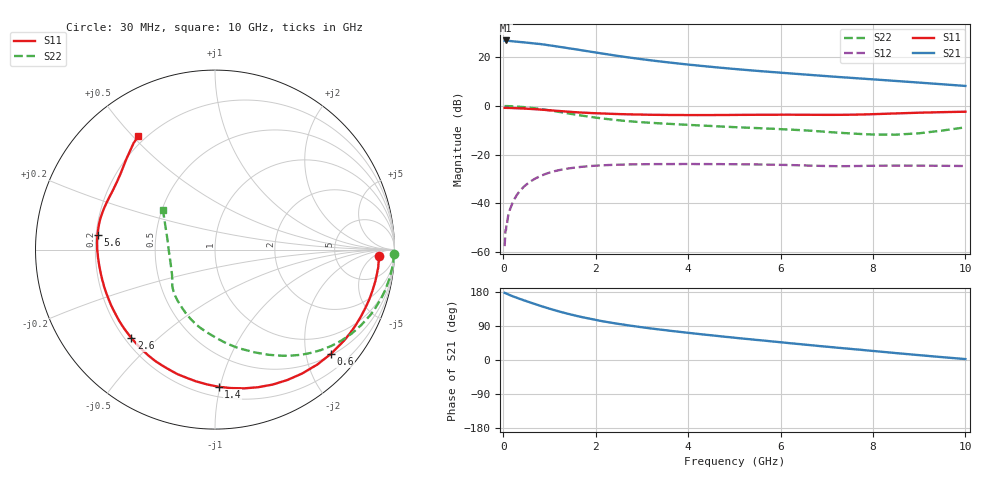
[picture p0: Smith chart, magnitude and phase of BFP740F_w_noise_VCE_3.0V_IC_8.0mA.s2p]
! Infineon Technologies  Discrete & RF Semiconductors
! BFP740F
! VCE =  3.0 V,  IC =  8.0 mA
! Common Emitter S-Parameters:  Oct 2012
# GHz  S  MA  R  50
!  f  S11  S21  S12  S22
! GHz  MAG  ANG  MAG  ANG  MAG  ANG  MAG  ANG
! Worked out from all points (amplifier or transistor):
!   99 points, 30 MHz to 10 GHz, reference 50 ohm
!   highest |S21| = 27.0 dB at 50 MHz (marker M1)
!   |S21| within 3 dB of that: start of sweep to 1.346 GHz
!   unconditionally stable (mu >= 1): 6.899 GHz to end of sweep
!   at 350 MHz: K = 0.07, MSG = 30.8 dB, |S12| = -35.2 dB
!   at 3.5 GHz: K = 0.43, MSG = 21.0 dB, |S12| = -23.9 dB
!   at 10 GHz: K = 1.29, MAG = 13.2 dB, |S12| = -24.7 dB
!   lowest NFmin = 0.42 dB at 450 MHz
!   S11 on the Smith chart (normalised r, x): 30 MHz: 19, -8; 600 MHz: 0.53, -2.51; 1.4 GHz: 0.27, -0.99; 2.6 GHz: 0.23, -0.41; 5.6 GHz: 0.21, +0.06; 10 GHz: 0.17, +0.52
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0.03  0.9162 -2.2  22.16 177.3  0.0013 71.8  0.9964 -1.4
0.05  0.915 -3.6  22.36 176.4  0.0028 80.2  0.9966 -2.4
0.15  0.9108 -11.0  21.78 171.0  0.0076 81.9  0.9896 -7.3
0.3  0.8983 -21.5  21.05 163.9  0.015 78.3  0.9721 -14.2
0.4  0.8896 -28.5  20.64 159.5  0.0196 73.8  0.9555 -18.7
0.6  0.8688 -41.9  19.74 151.1  0.0284 66.2  0.9163 -27.4
0.8  0.844 -54.9  18.86 143.1  0.036 58.9  0.8681 -35.7
0.9  0.8308 -61.0  18.33 139.2  0.0394 55.6  0.8411 -39.7
1.1  0.8036 -72.6  17.19 131.9  0.0452 49.3  0.7847 -47.2
1.4  0.7647 -88.5  15.52 122.0  0.0515 41.4  0.7047 -57.1
1.7  0.7315 -102.5  14.03 113.3  0.056 34.7  0.6343 -65.9
2.1  0.7042 -118.3  12.22 103.4  0.0598 27.5  0.5611 -77.1
2.3  0.692 -124.9  11.41 99.1  0.061 24.4  0.532 -81.8
2.6  0.6782 -133.4  10.34 93.4  0.0622 20.6  0.497 -88.2
3  0.6652 -143.5  9.194 86.4  0.0631 16.6  0.4627 -95.6
3.4  0.6563 -152.2  8.256 80.2  0.0636 13.2  0.4384 -101.9
4.3  0.6503 -168.2  6.677 67.7  0.0637 7.4  0.3954 -113.0
5.1  0.6563 -180.0  5.681 57.6  0.0631 3.5  0.3639 -122.3
5.6  0.6594 173.1  5.19 51.7  0.0624 1.5  0.3472 -127.9
6.7  0.6585 157.8  4.322 38.6  0.0591 -1.5  0.3072 -140.9
8.5  0.7034 134.9  3.276 18.2  0.0594 -1.1  0.2572 -178.1
10  0.763 124.0  2.586 2.4  0.0581 -3.1  0.3637 142.8
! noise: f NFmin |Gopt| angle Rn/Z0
0.45  0.42  0.27  6  0.19
0.9  0.47  0.27  11  0.15
1.5  0.53  0.26  23  0.11
1.9  0.58  0.26  31  0.1
2.4  0.63  0.25  42  0.09
3.5  0.76  0.22  65  0.1
5.5  0.98  0.13  118  0.12
10  1.43  0.38  -121  0.08
